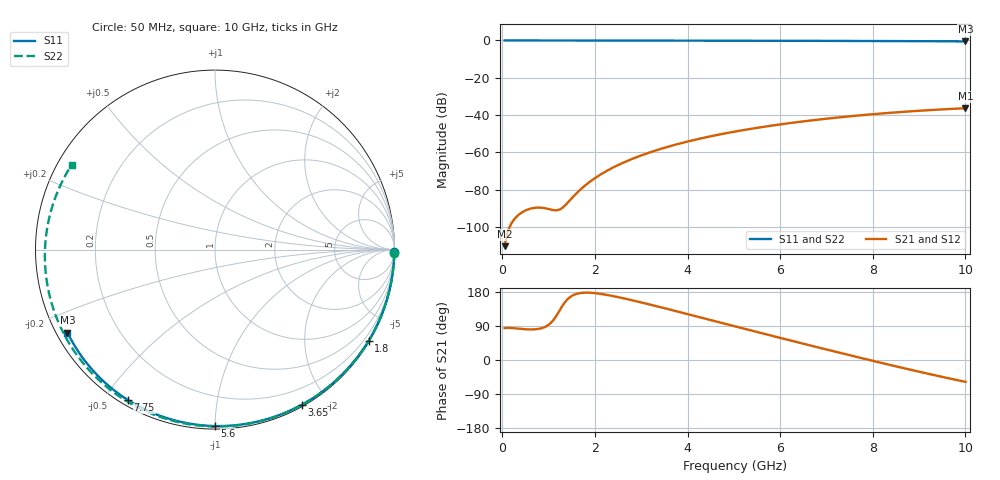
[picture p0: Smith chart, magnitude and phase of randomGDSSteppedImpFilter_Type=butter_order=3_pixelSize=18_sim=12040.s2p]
! freq	dB(S11)	phase(S11)	dB(S12)	phase(S12)
!  dB(S21)	phase(S21)	dB(S22)	phase(S22)
!S-par simulation data
#  GHz  S  DB  R 50
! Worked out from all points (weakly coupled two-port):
!   200 points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, 50 MHz to 10 GHz, reference 50 ohm
!   highest |S21| = -36.32 dB at 10 GHz (marker M1); lowest = -110.3 dB at 50 MHz (marker M2)
!   lowest |S11| = -0.5 dB at 10 GHz (marker M3), VSWR 34.05, Z = 1.57 - j13.1 ohm
!   |S11| at or under -10 dB: nowhere
!   |S22| runs from -0.7 to 0.0 dB; largest |S21 - S12| = 0
!   S11 on the Smith chart (normalised r, x): 50 MHz: open; 1.8 GHz: 0.03, -3.64; 3.65 GHz: 0.02, -1.71; 5.6 GHz: 0.02, -1.00; 7.75 GHz: 0.02, -0.58; 10 GHz: 0.03, -0.26
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0.05  -0.00 -0.8  -110.28 84.1  -110.28 84.1  -0.00 -1.1
0.8  -0.02 -13.8  -89.62 82.5  -89.62 82.5  -0.02 -18.5
1.65  -0.04 -28.2  -80.78 175.9  -80.78 175.9  -0.05 -37.8
1.7  -0.04 -29.1  -79.63 176.9  -79.63 176.9  -0.05 -38.9
1.75  -0.04 -29.9  -78.54 177.5  -78.54 177.5  -0.05 -40.1
1.8  -0.04 -30.7  -77.50 177.7  -77.50 177.7  -0.05 -41.2
2.1  -0.05 -35.7  -72.20 174.9  -72.20 174.9  -0.06 -47.8
2.45  -0.05 -41.5  -67.40 167.2  -67.40 167.2  -0.07 -55.4
2.9  -0.06 -48.8  -62.56 154.9  -62.56 154.9  -0.08 -65.1
3.4  -0.08 -56.8  -58.30 139.8  -58.30 139.8  -0.10 -75.6
3.65  -0.08 -60.7  -56.48 132.1  -56.48 132.1  -0.11 -80.8
4.35  -0.10 -71.5  -52.17 110.1  -52.17 110.1  -0.14 -95.0
5.05  -0.13 -82.0  -48.73 88.0  -48.73 88.0  -0.17 -108.8
5.6  -0.15 -90.0  -46.46 70.8  -46.46 70.8  -0.20 -119.5
6.15  -0.18 -97.9  -44.50 53.7  -44.50 53.7  -0.23 -130.1
6.7  -0.21 -105.6  -42.79 36.8  -42.79 36.8  -0.27 -140.7
7.25  -0.24 -113.2  -41.29 20.2  -41.29 20.2  -0.32 -151.4
7.75  -0.28 -120.0  -40.09 5.2  -40.09 5.2  -0.37 -161.3
8.35  -0.33 -128.1  -38.83 -12.4  -38.83 -12.4  -0.43 -173.5
9.2  -0.41 -139.6  -37.38 -36.5  -37.38 -36.5  -0.54 168.1
9.6  -0.46 -145.1  -36.81 -47.3  -36.81 -47.3  -0.59 159.0
10  -0.51 -150.6  -36.32 -57.6  -36.32 -57.6  -0.65 149.4
